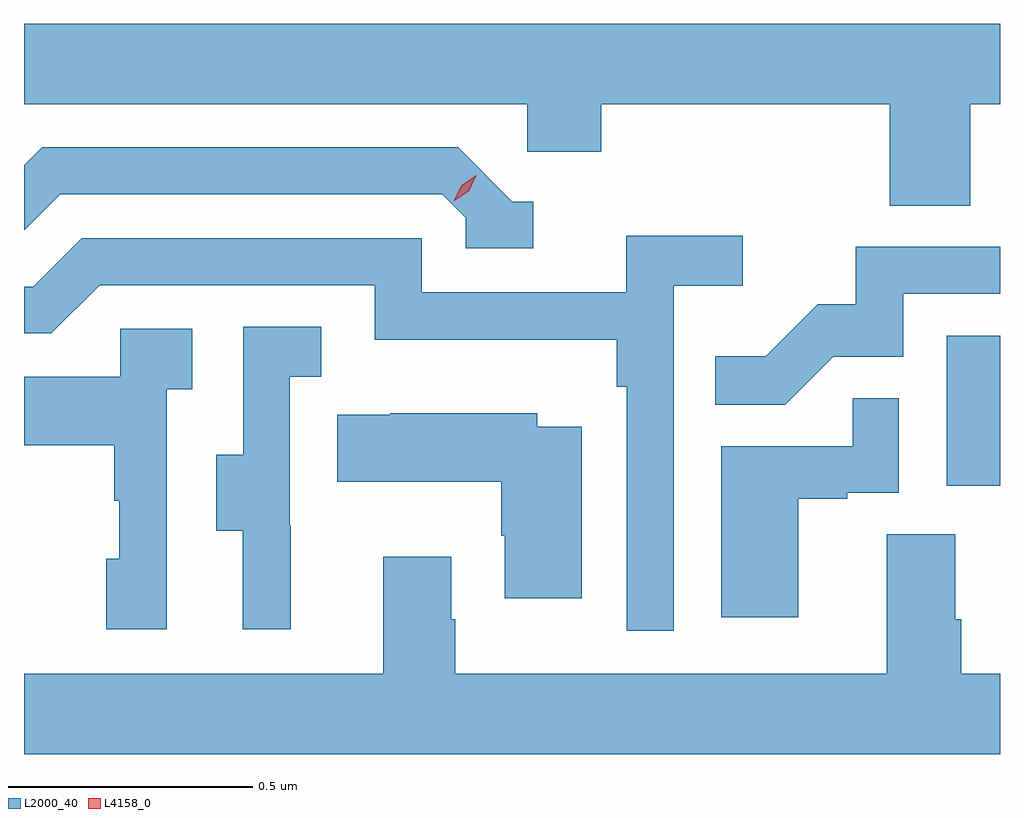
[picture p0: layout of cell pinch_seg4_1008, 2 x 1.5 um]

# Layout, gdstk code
import gdstk
lib = gdstk.Library(unit=1e-6, precision=1e-09)
def R(c, l, rs):  # rectangles x0, y0, x1, y1
    for r in rs: c.add(gdstk.rectangle(r[:2], r[2:], *l))
def P(c, l, *ps):  # polygons
    for p in ps: c.add(gdstk.Polygon(p, *l))
L2000_40 = (2000, 40)
L4158_0 = (4158, 0)

pinch_seg4_1008 = lib.new_cell('pinch_seg4_1008')
R(pinch_seg4_1008, L2000_40, [(841.574,782.718,841.683,783.025)])
P(pinch_seg4_1008, L2000_40, [(839.683,783.5),(840.714,783.5),(840.714,783.402),(840.866,783.402),(840.866,783.5),(841.457,783.5),(841.457,783.292),(841.622,783.292),(841.622,783.5),(841.683,783.5),(841.683,783.664),(839.683,783.664)],
  [(840.727,783.3),(840.684,783.3),(840.573,783.411),(839.72,783.411),(839.683,783.374),(839.683,783.241),(839.757,783.315),(840.54,783.315),(840.588,783.267),(840.588,783.204),(840.727,783.204)],
  [(841.014,783.128),(841.156,783.128),(841.156,783.23),(840.917,783.23),(840.917,783.114),(840.498,783.114),(840.498,783.225),(839.801,783.225),(839.702,783.126),(839.683,783.126),(839.683,783.03),(839.739,783.03),(839.838,783.129),(840.402,783.129),(840.402,783.017),(840.898,783.017),(840.898,782.921),(840.918,782.921),(840.918,782.421),(841.014,782.421)],
  [(841.341,782.982),(841.485,782.982),(841.485,783.111),(841.683,783.111),(841.683,783.207),(841.387,783.207),(841.387,783.09),(841.31,783.09),(841.203,782.983),(841.099,782.983),(841.099,782.884),(841.243,782.884)],
  [(840.23,782.637),(840.228,782.637),(840.228,782.941),(840.292,782.941),(840.292,783.044),(840.132,783.044),(840.132,782.781),(840.077,782.781),(840.077,782.626),(840.131,782.626),(840.131,782.424),(840.23,782.424)],
  [(839.976,782.915),(840.028,782.915),(840.028,783.039),(839.88,783.039),(839.88,782.941),(839.683,782.941),(839.683,782.801),(839.868,782.801),(839.868,782.687),(839.878,782.687),(839.878,782.568),(839.852,782.568),(839.852,782.424),(839.976,782.424)],
  [(841.27,782.691),(841.37,782.691),(841.37,782.703),(841.476,782.703),(841.476,782.897),(841.381,782.897),(841.381,782.799),(841.112,782.799),(841.112,782.448),(841.27,782.448)],
  [(840.826,782.839),(840.735,782.839),(840.735,782.866),(840.433,782.866),(840.433,782.863),(840.325,782.863),(840.325,782.726),(840.661,782.726),(840.661,782.615),(840.668,782.615),(840.668,782.487),(840.826,782.487)],
  [(841.683,782.332),(841.604,782.332),(841.604,782.444),(841.591,782.444),(841.591,782.618),(841.451,782.618),(841.451,782.332),(840.567,782.332),(840.567,782.444),(840.559,782.444),(840.559,782.572),(840.419,782.572),(840.419,782.332),(839.683,782.332),(839.683,782.168),(841.683,782.168)])
P(pinch_seg4_1008, L4158_0, [(840.564,783.301),(840.564,783.302),(840.58,783.334),(840.61,783.354),(840.61,783.354),(840.61,783.354),(840.594,783.321),(840.564,783.301)])

lib.write_gds('pinch_seg4_1008.gds')
